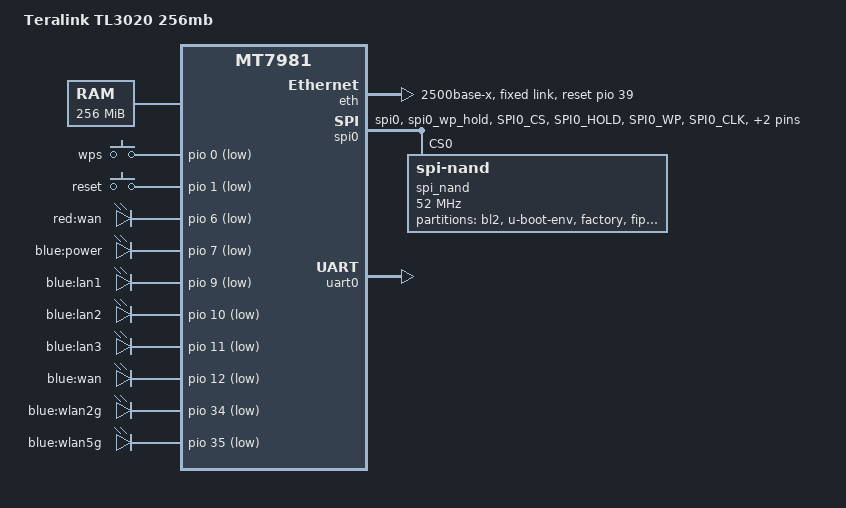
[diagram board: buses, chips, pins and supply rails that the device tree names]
// SPDX-License-Identifier: GPL-2.0-or-later

/dts-v1/;
#include "mt7981.dtsi"
#include <dt-bindings/gpio/gpio.h>
#include <dt-bindings/input/linux-event-codes.h>

/ {
	#address-cells = <1>;
	#size-cells = <1>;
	model = "Teralink TL3020 256mb";
	compatible = "mediatek,mt7981", "mediatek,mt7981-rfb";

	chosen {
		stdout-path = &uart0;
		tick-timer = &timer0;
	};

	memory@40000000 {
		device_type = "memory";
		reg = <0x40000000 0x10000000>;
	};

	gpio-keys {
		compatible = "gpio-keys";

		button-wps {
			label = "wps";
			linux,code = <KEY_WPS_BUTTON>;
			gpios = <&pio 0 GPIO_ACTIVE_LOW>;
		};

		button-reset {
			label = "reset";
			linux,code = <KEY_RESTART>;
			gpios = <&pio 1 GPIO_ACTIVE_LOW>;
		};
	};

	gpio-leds {
		compatible = "gpio-leds";

		upgrade_led: led-red-wan {
			label = "red:wan";
			gpios = <&pio 6 GPIO_ACTIVE_LOW>;
		};

		boot_led: led-power {
			label = "blue:power";
			gpios = <&pio 7 GPIO_ACTIVE_LOW>;
		};

		led-lan1 {
			label = "blue:lan1";
			gpios = <&pio 9 GPIO_ACTIVE_LOW>;
		};

		led-lan2 {
			label = "blue:lan2";
			gpios = <&pio 10 GPIO_ACTIVE_LOW>;
		};

		led-lan3 {
			label = "blue:lan3";
			gpios = <&pio 11 GPIO_ACTIVE_LOW>;
		};

		led-blue-wan {
			label = "blue:wan";
			gpios = <&pio 12 GPIO_ACTIVE_LOW>;
		};

		running_led: led-wlan2g {
			label = "blue:wlan2g";
			gpios = <&pio 34 GPIO_ACTIVE_LOW>;
		};

		led-wlan5g {
			label = "blue:wlan5g";
			gpios = <&pio 35 GPIO_ACTIVE_LOW>;
		};
	};
};

&eth {
	status = "okay";
	mediatek,gmac-id = <0>;
	phy-mode = "2500base-x";
	mediatek,switch = "mt7531";
	reset-gpios = <&pio 39 GPIO_ACTIVE_HIGH>;

	fixed-link {
		speed = <2500>;
		full-duplex;
	};
};

&pio {
	spi_flash_pins: spi0-pins-func-1 {
		mux {
			function = "flash";
			groups = "spi0", "spi0_wp_hold";
		};

		conf-pu {
			pins = "SPI0_CS", "SPI0_HOLD", "SPI0_WP";
			drive-strength = <MTK_DRIVE_8mA>;
			bias-pull-up = <MTK_PUPD_SET_R1R0_11>;
		};

		conf-pd {
			pins = "SPI0_CLK", "SPI0_MOSI", "SPI0_MISO";
			drive-strength = <MTK_DRIVE_8mA>;
			bias-pull-down = <MTK_PUPD_SET_R1R0_11>;
		};
	};
};

&spi0 {
	#address-cells = <1>;
	#size-cells = <0>;
	pinctrl-names = "default";
	pinctrl-0 = <&spi_flash_pins>;
	status = "okay";
	must_tx;
	enhance_timing;
	dma_ext;
	ipm_design;
	support_quad;
	tick_dly = <2>;
	sample_sel = <0>;

	spi_nand@0 {
		compatible = "spi-nand";
		reg = <0>;
		spi-max-frequency = <52000000>;

		partitions {
			compatible = "fixed-partitions";
			#address-cells = <1>;
			#size-cells = <1>;

			partition@0 {
				label = "bl2";
				reg = <0x0 0x100000>;
			};

			partition@100000 {
				label = "u-boot-env";
				reg = <0x100000 0x80000>;
			};

			partition@180000 {
				label = "factory";
				reg = <0x180000 0x200000>;
			};

			partition@380000 {
				label = "fip";
				reg = <0x380000 0x200000>;
			};

			partition@580000 {
				label = "config2";
				reg = <0x580000 0x100000>;
			};

			partition@680000 {
				label = "ubi";
				reg = <0x680000 0xe540000>;
				compatible = "linux,ubi";
			};
		};
	};
};

&uart0 {
	mediatek,force-highspeed;
	status = "okay";
};

&watchdog {
	status = "disabled";
};
